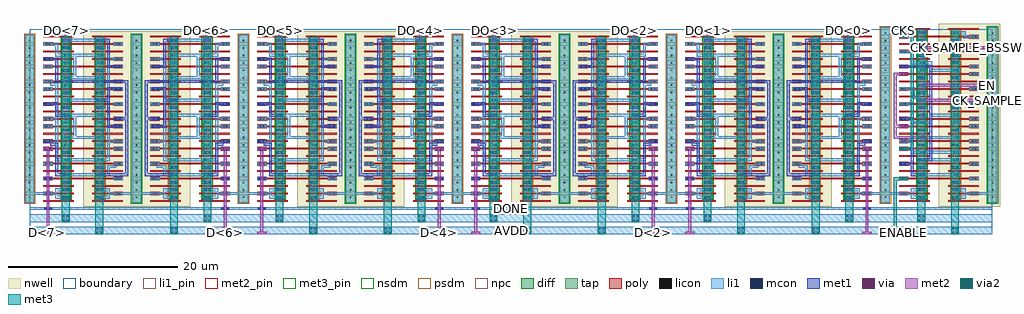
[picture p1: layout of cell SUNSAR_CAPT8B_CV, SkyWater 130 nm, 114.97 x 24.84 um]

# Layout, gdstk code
from math import pi, radians
import gdstk
lib = gdstk.Library(unit=1e-6, precision=1e-09)
def R(c, l, rs):  # rectangles x0, y0, x1, y1
    for r in rs: c.add(gdstk.rectangle(r[:2], r[2:], *l))
def A(c, l, x, y, w, h, nx, ny, dx, dy):  # array of equal rectangles
    R(c, l, [(x+i*dx, y+j*dy, x+i*dx+w, y+j*dy+h) for i in range(nx) for j in range(ny)])
nwell = (64, 20)
diff = (65, 20)
tap = (65, 44)
poly = (66, 20)
licon = (66, 44)
li1_pin = (67, 16)
li1 = (67, 20)
mcon = (67, 44)
met1 = (68, 20)
via = (68, 44)
met2_pin = (69, 16)
met2 = (69, 20)
via2 = (69, 44)
met3_pin = (70, 16)
met3 = (70, 20)
nsdm = (93, 44)
psdm = (94, 20)
npc = (95, 20)
boundary = (235, 4)

sunsar_cut_m1m2_2x1 = lib.new_cell('SUNSAR_cut_M1M2_2x1')
R(sunsar_cut_m1m2_2x1, li1, [(0,0,0.92,0.34)])
R(sunsar_cut_m1m2_2x1, mcon, [(0.115,0.085,0.285,0.255), (0.635,0.085,0.805,0.255)])
R(sunsar_cut_m1m2_2x1, met1, [(0,0,0.92,0.34)])
R(sunsar_cut_m1m2_2x1, boundary, [(0,0,0.92,0.34)])

sunsar_cut_m1m4_2x1 = lib.new_cell('SUNSAR_cut_M1M4_2x1')
R(sunsar_cut_m1m4_2x1, li1, [(0,0,0.92,0.34)])
R(sunsar_cut_m1m4_2x1, mcon, [(0.115,0.085,0.285,0.255), (0.635,0.085,0.805,0.255)])
R(sunsar_cut_m1m4_2x1, met1, [(0,0,0.92,0.34)])
R(sunsar_cut_m1m4_2x1, via, [(0.125,0.095,0.275,0.245), (0.645,0.095,0.795,0.245)])
R(sunsar_cut_m1m4_2x1, met2, [(0,0,0.92,0.34)])
R(sunsar_cut_m1m4_2x1, via2, [(0.1,0.07,0.3,0.27), (0.62,0.07,0.82,0.27)])
R(sunsar_cut_m1m4_2x1, met3, [(0,0,0.92,0.34)])
R(sunsar_cut_m1m4_2x1, boundary, [(0,0,0.92,0.34)])

sunsar_pchdl = lib.new_cell('SUNSAR_PCHDL')
R(sunsar_pchdl, nwell, [(0,-0.66,7.2,2.42)])
R(sunsar_pchdl, diff, [(1.44,0.22,2.52,1.54)])
R(sunsar_pchdl, tap, [(5.76,-0.22,6.84,1.98)])
A(sunsar_pchdl, poly, 1.08, -0.09, 3.6, 0.18, 1, 3, 0, 0.88)
R(sunsar_pchdl, poly, [(3.6,0.66,4.68,0.79), (3.6,0.97,4.68,1.1)])
R(sunsar_pchdl, licon, [(1.725,0.355,1.895,0.525), (2.065,0.355,2.235,0.525), (6.215,0.355,6.385,0.525), (3.885,0.795,4.055,0.965), (4.225,0.795,4.395,0.965), (1.725,1.235,1.895,1.405), (2.065,1.235,2.235,1.405), (6.215,1.235,6.385,1.405)])
R(sunsar_pchdl, li1_pin, [(1.44,0.27,2.52,0.61), (5.76,0.66,6.84,1.1), (3.6,0.71,4.68,1.05), (1.44,1.15,2.52,1.49)])
R(sunsar_pchdl, li1, [(5.76,-0.22,6.84,1.98), (1.44,0.27,2.52,0.61), (3.6,0.71,4.68,1.05), (1.44,1.15,2.52,1.49)])
R(sunsar_pchdl, nsdm, [(5.635,-0.345,6.965,2.105)])
R(sunsar_pchdl, psdm, [(1.315,0.095,2.645,1.665)])
R(sunsar_pchdl, npc, [(3.785,0.695,4.495,1.065)])
R(sunsar_pchdl, boundary, [(0,0,6.3,1.76)])
sunsar_pchdl.add(gdstk.Label('D', (1.98,1.32), layer=67, texttype=5))
sunsar_pchdl.add(gdstk.Label('G', (4.14,0.88), layer=67, texttype=5))
sunsar_pchdl.add(gdstk.Label('S', (1.98,0.44), layer=67, texttype=5))
sunsar_pchdl.add(gdstk.Label('B', (6.3,0.88), layer=67, texttype=5))

sunsar_nchdl = lib.new_cell('SUNSAR_NCHDL')
R(sunsar_nchdl, diff, [(3.78,0.22,4.86,1.54)])
R(sunsar_nchdl, tap, [(-0.54,-0.22,0.54,1.98)])
A(sunsar_nchdl, poly, 1.62, -0.09, 3.6, 0.18, 1, 3, 0, 0.88)
R(sunsar_nchdl, poly, [(1.62,0.66,2.7,0.79), (1.62,0.97,2.7,1.1)])
R(sunsar_nchdl, licon, [(-0.085,0.355,0.085,0.525), (4.065,0.355,4.235,0.525), (4.405,0.355,4.575,0.525), (1.905,0.795,2.075,0.965), (2.245,0.795,2.415,0.965), (-0.085,1.235,0.085,1.405), (4.065,1.235,4.235,1.405), (4.405,1.235,4.575,1.405)])
R(sunsar_nchdl, li1_pin, [(3.78,0.27,4.86,0.61), (-0.54,0.66,0.54,1.1), (1.62,0.71,2.7,1.05), (3.78,1.15,4.86,1.49)])
R(sunsar_nchdl, li1, [(-0.54,-0.22,0.54,1.98), (3.78,0.27,4.86,0.61), (1.62,0.71,2.7,1.05), (3.78,1.15,4.86,1.49)])
R(sunsar_nchdl, nsdm, [(3.655,0.095,4.985,1.665)])
R(sunsar_nchdl, psdm, [(-0.665,-0.345,0.665,2.105)])
R(sunsar_nchdl, npc, [(1.805,0.695,2.515,1.065)])
R(sunsar_nchdl, boundary, [(0,0,6.3,1.76)])
sunsar_nchdl.add(gdstk.Label('D', (4.32,1.32), layer=67, texttype=5))
sunsar_nchdl.add(gdstk.Label('G', (2.16,0.88), layer=67, texttype=5))
sunsar_nchdl.add(gdstk.Label('S', (4.32,0.44), layer=67, texttype=5))
sunsar_nchdl.add(gdstk.Label('B', (0,0.88), layer=67, texttype=5))

sunsar_ivx1_cv = lib.new_cell('SUNSAR_IVX1_CV')
R(sunsar_ivx1_cv, poly, [(1.62,0.79,10.98,0.97)])
R(sunsar_ivx1_cv, li1_pin, [(-0.54,0.66,0.54,1.1), (12.06,0.66,13.14,1.1), (1.62,0.71,2.7,1.05), (3.78,1.15,4.86,1.49)])
R(sunsar_ivx1_cv, li1, [(-0.54,0.66,0.54,1.1), (12.06,0.66,13.14,1.1), (1.62,0.71,2.7,1.05), (3.78,1.15,8.28,1.49)])
R(sunsar_ivx1_cv, met3_pin, [(3.78,0,4.7,1.76), (7.74,0,8.66,1.76)])
R(sunsar_ivx1_cv, met3, [(3.78,0,4.7,1.76), (7.74,0,8.66,1.76)])
R(sunsar_ivx1_cv, boundary, [(0,0,12.6,1.76)])
sunsar_ivx1_cv.add(gdstk.Reference(sunsar_cut_m1m4_2x1, (3.78,0.27)))
sunsar_ivx1_cv.add(gdstk.Reference(sunsar_cut_m1m4_2x1, (7.74,0.27)))
sunsar_ivx1_cv.add(gdstk.Reference(sunsar_pchdl, (6.3,0)))
sunsar_ivx1_cv.add(gdstk.Reference(sunsar_nchdl, (0,0)))
sunsar_ivx1_cv.add(gdstk.Label('A', (2.16,0.88), layer=67, texttype=5))
sunsar_ivx1_cv.add(gdstk.Label('Y', (4.32,1.32), layer=67, texttype=5))
sunsar_ivx1_cv.add(gdstk.Label('BULKP', (12.6,0.88), layer=67, texttype=5))
sunsar_ivx1_cv.add(gdstk.Label('BULKN', (0,0.88), layer=67, texttype=5))
sunsar_ivx1_cv.add(gdstk.Label('AVDD', (8.2,0.88), layer=70, texttype=5))
sunsar_ivx1_cv.add(gdstk.Label('AVSS', (4.24,0.88), layer=70, texttype=5))

sunsar_ivtrix1_cv = lib.new_cell('SUNSAR_IVTRIX1_CV')
R(sunsar_ivtrix1_cv, poly, [(1.62,0.79,10.98,0.97)])
R(sunsar_ivtrix1_cv, li1_pin, [(-0.54,0.66,0.54,1.1), (12.06,0.66,13.14,1.1), (1.62,0.71,2.7,1.05), (1.62,1.59,2.7,1.93), (9.9,1.59,10.98,1.93), (3.78,2.03,4.86,2.37)])
R(sunsar_ivtrix1_cv, li1, [(-0.54,0.66,0.54,1.1), (12.06,0.66,13.14,1.1), (1.62,0.71,2.7,1.05), (4.15,1.15,4.49,1.49), (8.11,1.15,8.45,1.49), (1.62,1.59,2.7,1.93), (9.9,1.59,10.98,1.93), (3.78,2.03,8.28,2.37)])
R(sunsar_ivtrix1_cv, met3_pin, [(3.78,0,4.7,2.64), (7.74,0,8.66,2.64)])
R(sunsar_ivtrix1_cv, met3, [(3.78,0,4.7,2.64), (7.74,0,8.66,2.64)])
R(sunsar_ivtrix1_cv, boundary, [(0,0,12.6,2.64)])
sunsar_ivtrix1_cv.add(gdstk.Reference(sunsar_cut_m1m4_2x1, (3.78,0.27)))
sunsar_ivtrix1_cv.add(gdstk.Reference(sunsar_cut_m1m4_2x1, (7.74,0.27)))
sunsar_ivtrix1_cv.add(gdstk.Reference(sunsar_pchdl, (6.3,0.88)))
sunsar_ivtrix1_cv.add(gdstk.Reference(sunsar_pchdl, (6.3,0)))
sunsar_ivtrix1_cv.add(gdstk.Reference(sunsar_nchdl, (0,0.88)))
sunsar_ivtrix1_cv.add(gdstk.Reference(sunsar_nchdl, (0,0)))
sunsar_ivtrix1_cv.add(gdstk.Label('A', (2.16,0.88), layer=67, texttype=5))
sunsar_ivtrix1_cv.add(gdstk.Label('C', (2.16,1.76), layer=67, texttype=5))
sunsar_ivtrix1_cv.add(gdstk.Label('CN', (10.44,1.76), layer=67, texttype=5))
sunsar_ivtrix1_cv.add(gdstk.Label('Y', (4.32,2.2), layer=67, texttype=5))
sunsar_ivtrix1_cv.add(gdstk.Label('BULKP', (12.6,0.88), layer=67, texttype=5))
sunsar_ivtrix1_cv.add(gdstk.Label('BULKN', (0,0.88), layer=67, texttype=5))
sunsar_ivtrix1_cv.add(gdstk.Label('AVDD', (8.2,1.32), layer=70, texttype=5))
sunsar_ivtrix1_cv.add(gdstk.Label('AVSS', (4.24,1.32), layer=70, texttype=5))

sunsar_tapcellb_cv = lib.new_cell('SUNSAR_TAPCELLB_CV')
R(sunsar_tapcellb_cv, li1, [(3,0.27,4.32,0.61), (8.28,0.27,9.46,0.61), (3,0.61,3.34,0.71), (9.12,0.61,9.46,0.71), (-0.54,0.71,3.34,1.05), (9.12,0.71,13.14,1.05), (3,1.05,3.34,1.15), (9.12,1.05,9.46,1.15), (3,1.15,4.32,1.49), (8.28,1.15,9.46,1.49)])
R(sunsar_tapcellb_cv, met3_pin, [(3.78,0,4.7,1.76), (7.74,0,8.66,1.76)])
R(sunsar_tapcellb_cv, met3, [(3.78,0,4.7,1.76), (7.74,0,8.66,1.76)])
R(sunsar_tapcellb_cv, boundary, [(0,0,12.6,1.76)])
sunsar_tapcellb_cv.add(gdstk.Reference(sunsar_cut_m1m4_2x1, (3.78,0.27)))
sunsar_tapcellb_cv.add(gdstk.Reference(sunsar_cut_m1m4_2x1, (3.78,1.15)))
sunsar_tapcellb_cv.add(gdstk.Reference(sunsar_cut_m1m4_2x1, (7.74,0.27)))
sunsar_tapcellb_cv.add(gdstk.Reference(sunsar_cut_m1m4_2x1, (7.74,1.15)))
sunsar_tapcellb_cv.add(gdstk.Reference(sunsar_pchdl, (6.3,0)))
sunsar_tapcellb_cv.add(gdstk.Reference(sunsar_nchdl, (0,0)))
sunsar_tapcellb_cv.add(gdstk.Label('AVDD', (8.2,0.88), layer=70, texttype=5))
sunsar_tapcellb_cv.add(gdstk.Label('AVSS', (4.24,0.88), layer=70, texttype=5))

sunsar_dfqnx1_cv = lib.new_cell('SUNSAR_DFQNX1_CV')
R(sunsar_dfqnx1_cv, li1_pin, [(1.62,2.47,2.7,2.81), (1.62,5.99,2.7,6.33), (3.78,16.99,4.86,17.33), (3.78,18.75,4.86,19.09)])
R(sunsar_dfqnx1_cv, li1, [(1.62,2.47,2.7,2.81), (8.28,2.91,9.46,3.25), (9.12,3.25,9.46,3.89), (9.12,3.89,10.2,4.23), (9.9,4.23,10.44,4.57), (3,4.67,4.32,5.01), (8.28,4.67,9.46,5.01), (3,5.01,3.34,9.51), (9.12,5.01,9.46,6.87), (1.62,5.99,2.7,6.33), (9.12,6.87,10.44,7.21), (9.12,7.21,9.46,16.55), (4.32,7.31,5.5,7.65), (5.16,7.65,5.5,9.95), (2.16,9.51,3.34,9.85), (3,9.85,3.34,13.57), (4.32,9.95,5.5,10.29), (2.4,13.57,3.34,13.91), (2.16,13.91,2.7,14.25), (4.32,14.35,5.5,14.69), (5.16,14.69,5.5,16.99), (9.12,16.55,10.44,16.89), (3,16.99,5.5,17.33), (3,17.33,3.34,18.31), (2.16,18.31,3.34,18.65), (3.78,18.75,4.86,19.09)])
R(sunsar_dfqnx1_cv, met1, [(3,2.91,4.32,3.25), (8.28,2.91,11.62,3.25), (3,3.25,3.34,6.53), (11.28,3.25,11.62,9.51), (2.4,6.53,3.34,6.87), (2.16,6.87,2.7,7.21), (9.12,8.63,10.44,8.97), (9.12,8.97,9.46,11.71), (10.44,9.51,11.62,9.85), (11.28,9.85,11.62,13.91), (3,9.95,4.32,10.29), (3,10.29,3.34,11.27), (2.16,11.27,3.34,11.61), (8.28,11.71,9.46,12.05), (9.12,12.05,9.46,13.03), (9.12,13.03,10.44,13.37), (3,13.91,11.62,14.25), (3,14.25,3.34,16.55), (9.12,15.67,10.44,16.01), (9.12,16.01,9.46,18.75), (2.16,16.55,3.34,16.89), (8.28,18.75,9.46,19.09)])
R(sunsar_dfqnx1_cv, met3_pin, [(3.78,0,4.7,19.36), (7.74,0,8.66,19.36)])
R(sunsar_dfqnx1_cv, met3, [(3.78,0,4.7,19.36), (7.74,0,8.66,19.36)])
A(sunsar_dfqnx1_cv, nsdm, 3.655, 1.665, 1.33, 0.19, 1, 3, 0, 1.76)
A(sunsar_dfqnx1_cv, nsdm, 3.655, 12.225, 1.33, 0.19, 1, 3, 0, 2.64)
R(sunsar_dfqnx1_cv, nsdm, [(3.655,7.825,4.985,8.015), (3.655,10.465,4.985,10.655)])
A(sunsar_dfqnx1_cv, psdm, 7.615, 1.665, 1.33, 0.19, 1, 3, 0, 1.76)
A(sunsar_dfqnx1_cv, psdm, 7.615, 12.225, 1.33, 0.19, 1, 3, 0, 2.64)
R(sunsar_dfqnx1_cv, psdm, [(7.615,7.825,8.945,8.015), (7.615,10.465,8.945,10.655)])
R(sunsar_dfqnx1_cv, boundary, [(0,0,12.6,19.36)])
sunsar_dfqnx1_cv.add(gdstk.Reference(sunsar_cut_m1m2_2x1, (9.9,15.67)))
sunsar_dfqnx1_cv.add(gdstk.Reference(sunsar_cut_m1m2_2x1, (7.74,18.75)))
sunsar_dfqnx1_cv.add(gdstk.Reference(sunsar_cut_m1m2_2x1, (9.9,13.03)))
sunsar_dfqnx1_cv.add(gdstk.Reference(sunsar_cut_m1m2_2x1, (9.9,8.63)))
sunsar_dfqnx1_cv.add(gdstk.Reference(sunsar_cut_m1m2_2x1, (7.74,11.71)))
sunsar_dfqnx1_cv.add(gdstk.Reference(sunsar_cut_m1m2_2x1, (3.78,9.95)))
sunsar_dfqnx1_cv.add(gdstk.Reference(sunsar_cut_m1m2_2x1, (1.62,11.27)))
sunsar_dfqnx1_cv.add(gdstk.Reference(sunsar_cut_m1m2_2x1, (9.9,13.91)))
sunsar_dfqnx1_cv.add(gdstk.Reference(sunsar_cut_m1m2_2x1, (1.62,16.55)))
sunsar_dfqnx1_cv.add(gdstk.Reference(sunsar_cut_m1m2_2x1, (3.78,2.91)))
sunsar_dfqnx1_cv.add(gdstk.Reference(sunsar_cut_m1m2_2x1, (1.62,6.87)))
sunsar_dfqnx1_cv.add(gdstk.Reference(sunsar_cut_m1m2_2x1, (7.74,2.91)))
sunsar_dfqnx1_cv.add(gdstk.Reference(sunsar_cut_m1m2_2x1, (9.9,13.91)))
sunsar_dfqnx1_cv.add(gdstk.Reference(sunsar_cut_m1m2_2x1, (9.9,9.51)))
sunsar_dfqnx1_cv.add(gdstk.Reference(sunsar_ivx1_cv, (0,17.6)))
sunsar_dfqnx1_cv.add(gdstk.Reference(sunsar_ivtrix1_cv, (0,14.96)))
sunsar_dfqnx1_cv.add(gdstk.Reference(sunsar_ivtrix1_cv, (0,12.32)))
sunsar_dfqnx1_cv.add(gdstk.Reference(sunsar_ivx1_cv, (0,10.56)))
sunsar_dfqnx1_cv.add(gdstk.Reference(sunsar_ivtrix1_cv, (0,7.92)))
sunsar_dfqnx1_cv.add(gdstk.Reference(sunsar_ivtrix1_cv, (0,5.28)))
sunsar_dfqnx1_cv.add(gdstk.Reference(sunsar_ivx1_cv, (0,3.52)))
sunsar_dfqnx1_cv.add(gdstk.Reference(sunsar_ivx1_cv, (0,1.76)))
sunsar_dfqnx1_cv.add(gdstk.Reference(sunsar_tapcellb_cv, (0,0)))
sunsar_dfqnx1_cv.add(gdstk.Label('D', (2.16,6.16), layer=67, texttype=5))
sunsar_dfqnx1_cv.add(gdstk.Label('CK', (2.16,2.64), layer=67, texttype=5))
sunsar_dfqnx1_cv.add(gdstk.Label('Q', (4.32,18.92), layer=67, texttype=5))
sunsar_dfqnx1_cv.add(gdstk.Label('QN', (4.32,17.16), layer=67, texttype=5))
sunsar_dfqnx1_cv.add(gdstk.Label('AVDD', (8.2,9.68), layer=70, texttype=5))
sunsar_dfqnx1_cv.add(gdstk.Label('AVSS', (4.24,9.68), layer=70, texttype=5))

sunsar_cut_m1m3_2x1 = lib.new_cell('SUNSAR_cut_M1M3_2x1')
R(sunsar_cut_m1m3_2x1, li1, [(0,0,0.92,0.34)])
R(sunsar_cut_m1m3_2x1, mcon, [(0.115,0.085,0.285,0.255), (0.635,0.085,0.805,0.255)])
R(sunsar_cut_m1m3_2x1, met1, [(0,0,0.92,0.34)])
R(sunsar_cut_m1m3_2x1, via, [(0.125,0.095,0.275,0.245), (0.645,0.095,0.795,0.245)])
R(sunsar_cut_m1m3_2x1, met2, [(0,0,0.92,0.34)])
R(sunsar_cut_m1m3_2x1, boundary, [(0,0,0.92,0.34)])

sunsar_cut_m1m4_2x2 = lib.new_cell('SUNSAR_cut_M1M4_2x2')
R(sunsar_cut_m1m4_2x2, li1, [(0,0,0.92,0.92)])
R(sunsar_cut_m1m4_2x2, mcon, [(0.115,0.115,0.285,0.285), (0.635,0.115,0.805,0.285), (0.115,0.635,0.285,0.805), (0.635,0.635,0.805,0.805)])
R(sunsar_cut_m1m4_2x2, met1, [(0,0,0.92,0.92)])
R(sunsar_cut_m1m4_2x2, via, [(0.125,0.125,0.275,0.275), (0.645,0.125,0.795,0.275), (0.125,0.645,0.275,0.795), (0.645,0.645,0.795,0.795)])
R(sunsar_cut_m1m4_2x2, met2, [(0,0,0.92,0.92)])
R(sunsar_cut_m1m4_2x2, via2, [(0.1,0.1,0.3,0.3), (0.62,0.1,0.82,0.3), (0.1,0.62,0.3,0.82), (0.62,0.62,0.82,0.82)])
R(sunsar_cut_m1m4_2x2, met3, [(0,0,0.92,0.92)])
R(sunsar_cut_m1m4_2x2, boundary, [(0,0,0.92,0.92)])

sunsar_tiel_cv = lib.new_cell('SUNSAR_TIEL_CV')
R(sunsar_tiel_cv, poly, [(1.62,0.79,10.98,0.97)])
R(sunsar_tiel_cv, li1_pin, [(-0.54,0.66,0.54,1.1), (12.06,0.66,13.14,1.1), (3.78,1.15,4.86,1.49)])
R(sunsar_tiel_cv, li1, [(-0.54,0.66,0.54,1.1), (12.06,0.66,13.14,1.1), (9.12,0.71,10.44,1.05), (9.12,1.05,9.46,1.15), (3.78,1.15,4.86,1.49), (8.28,1.15,9.46,1.49)])
R(sunsar_tiel_cv, met3_pin, [(3.78,0,4.7,1.76), (7.74,0,8.66,1.76)])
R(sunsar_tiel_cv, met3, [(3.78,0,4.7,1.76), (7.74,0,8.66,1.76)])
R(sunsar_tiel_cv, boundary, [(0,0,12.6,1.76)])
sunsar_tiel_cv.add(gdstk.Reference(sunsar_cut_m1m4_2x1, (3.78,0.27)))
sunsar_tiel_cv.add(gdstk.Reference(sunsar_cut_m1m4_2x1, (7.74,0.27)))
sunsar_tiel_cv.add(gdstk.Reference(sunsar_pchdl, (6.3,0)))
sunsar_tiel_cv.add(gdstk.Reference(sunsar_nchdl, (0,0)))
sunsar_tiel_cv.add(gdstk.Label('Y', (4.32,1.32), layer=67, texttype=5))
sunsar_tiel_cv.add(gdstk.Label('BULKP', (12.6,0.88), layer=67, texttype=5))
sunsar_tiel_cv.add(gdstk.Label('BULKN', (0,0.88), layer=67, texttype=5))
sunsar_tiel_cv.add(gdstk.Label('AVDD', (8.2,0.88), layer=70, texttype=5))
sunsar_tiel_cv.add(gdstk.Label('AVSS', (4.24,0.88), layer=70, texttype=5))

sunsar_ndx1_cv = lib.new_cell('SUNSAR_NDX1_CV')
R(sunsar_ndx1_cv, poly, [(1.62,0.79,10.98,0.97), (1.62,1.67,10.98,1.85)])
R(sunsar_ndx1_cv, li1_pin, [(-0.54,0.66,0.54,1.1), (12.06,0.66,13.14,1.1), (1.62,0.71,2.7,1.05), (1.62,1.59,2.7,1.93), (3.78,2.03,4.86,2.37)])
R(sunsar_ndx1_cv, li1, [(-0.54,0.66,0.54,1.1), (12.06,0.66,13.14,1.1), (1.62,0.71,2.7,1.05), (4.15,1.15,4.49,1.49), (5.16,1.15,8.28,1.49), (5.16,1.49,5.5,2.03), (1.62,1.59,2.7,1.93), (3.78,2.03,5.5,2.37)])
R(sunsar_ndx1_cv, met3_pin, [(3.78,0,4.7,2.64), (7.74,0,8.66,2.64)])
R(sunsar_ndx1_cv, met3, [(3.78,0,4.7,2.64), (7.74,0,8.66,2.64)])
R(sunsar_ndx1_cv, boundary, [(0,0,12.6,2.64)])
sunsar_ndx1_cv.add(gdstk.Reference(sunsar_cut_m1m4_2x1, (3.78,0.27)))
sunsar_ndx1_cv.add(gdstk.Reference(sunsar_cut_m1m4_2x1, (7.74,2.03)))
sunsar_ndx1_cv.add(gdstk.Reference(sunsar_cut_m1m4_2x1, (7.74,0.27)))
sunsar_ndx1_cv.add(gdstk.Reference(sunsar_pchdl, (6.3,0.88)))
sunsar_ndx1_cv.add(gdstk.Reference(sunsar_pchdl, (6.3,0)))
sunsar_ndx1_cv.add(gdstk.Reference(sunsar_nchdl, (0,0.88)))
sunsar_ndx1_cv.add(gdstk.Reference(sunsar_nchdl, (0,0)))
sunsar_ndx1_cv.add(gdstk.Label('A', (2.16,0.88), layer=67, texttype=5))
sunsar_ndx1_cv.add(gdstk.Label('B', (2.16,1.76), layer=67, texttype=5))
sunsar_ndx1_cv.add(gdstk.Label('Y', (4.32,2.2), layer=67, texttype=5))
sunsar_ndx1_cv.add(gdstk.Label('BULKP', (12.6,0.88), layer=67, texttype=5))
sunsar_ndx1_cv.add(gdstk.Label('BULKN', (0,0.88), layer=67, texttype=5))
sunsar_ndx1_cv.add(gdstk.Label('AVDD', (8.2,1.32), layer=70, texttype=5))
sunsar_ndx1_cv.add(gdstk.Label('AVSS', (4.24,1.32), layer=70, texttype=5))

sunsar_anx1_cv = lib.new_cell('SUNSAR_ANX1_CV')
R(sunsar_anx1_cv, li1_pin, [(-0.54,0.66,0.54,1.1), (12.06,0.66,13.14,1.1), (1.62,0.71,2.7,1.05), (1.62,1.59,2.7,1.93), (3.78,3.79,4.86,4.13)])
R(sunsar_anx1_cv, li1, [(-0.54,0.66,0.54,1.1), (12.06,0.66,13.14,1.1), (1.62,0.71,2.7,1.05), (1.62,1.59,2.7,1.93), (3,2.03,4.32,2.37), (3,2.37,3.34,3.35), (2.16,3.35,3.34,3.69), (3.78,3.79,4.86,4.13)])
R(sunsar_anx1_cv, met3_pin, [(3.78,0,4.7,4.4), (7.74,0,8.66,4.4)])
R(sunsar_anx1_cv, met3, [(3.78,0,4.7,4.4), (7.74,0,8.66,4.4)])
R(sunsar_anx1_cv, nsdm, [(3.655,2.545,4.985,2.735)])
R(sunsar_anx1_cv, psdm, [(7.615,2.545,8.945,2.735)])
R(sunsar_anx1_cv, boundary, [(0,0,12.6,4.4)])
sunsar_anx1_cv.add(gdstk.Reference(sunsar_ivx1_cv, (0,2.64)))
sunsar_anx1_cv.add(gdstk.Reference(sunsar_ndx1_cv, (0,0)))
sunsar_anx1_cv.add(gdstk.Label('A', (2.16,0.88), layer=67, texttype=5))
sunsar_anx1_cv.add(gdstk.Label('B', (2.16,1.76), layer=67, texttype=5))
sunsar_anx1_cv.add(gdstk.Label('Y', (4.32,3.96), layer=67, texttype=5))
sunsar_anx1_cv.add(gdstk.Label('BULKP', (12.6,0.88), layer=67, texttype=5))
sunsar_anx1_cv.add(gdstk.Label('BULKN', (0,0.88), layer=67, texttype=5))
sunsar_anx1_cv.add(gdstk.Label('AVDD', (8.2,2.2), layer=70, texttype=5))
sunsar_anx1_cv.add(gdstk.Label('AVSS', (4.24,2.2), layer=70, texttype=5))

sunsar_nrx1_cv = lib.new_cell('SUNSAR_NRX1_CV')
R(sunsar_nrx1_cv, poly, [(1.62,0.79,10.98,0.97), (1.62,1.67,10.98,1.85)])
R(sunsar_nrx1_cv, li1_pin, [(-0.54,0.66,0.54,1.1), (12.06,0.66,13.14,1.1), (1.62,0.71,2.7,1.05), (3.78,1.15,4.86,1.49), (1.62,1.59,2.7,1.93)])
R(sunsar_nrx1_cv, li1, [(-0.54,0.66,0.54,1.1), (12.06,0.66,13.14,1.1), (1.62,0.71,2.7,1.05), (3.78,1.15,5.5,1.49), (8.11,1.15,8.45,1.49), (5.16,1.49,5.5,2.03), (1.62,1.59,2.7,1.93), (5.16,2.03,8.28,2.37)])
R(sunsar_nrx1_cv, met3_pin, [(3.78,0,4.7,2.64), (7.74,0,8.66,2.64)])
R(sunsar_nrx1_cv, met3, [(3.78,0,4.7,2.64), (7.74,0,8.66,2.64)])
R(sunsar_nrx1_cv, boundary, [(0,0,12.6,2.64)])
sunsar_nrx1_cv.add(gdstk.Reference(sunsar_cut_m1m4_2x1, (3.78,2.03)))
sunsar_nrx1_cv.add(gdstk.Reference(sunsar_cut_m1m4_2x1, (3.78,0.27)))
sunsar_nrx1_cv.add(gdstk.Reference(sunsar_cut_m1m4_2x1, (7.74,0.27)))
sunsar_nrx1_cv.add(gdstk.Reference(sunsar_pchdl, (6.3,0.88)))
sunsar_nrx1_cv.add(gdstk.Reference(sunsar_pchdl, (6.3,0)))
sunsar_nrx1_cv.add(gdstk.Reference(sunsar_nchdl, (0,0.88)))
sunsar_nrx1_cv.add(gdstk.Reference(sunsar_nchdl, (0,0)))
sunsar_nrx1_cv.add(gdstk.Label('A', (2.16,0.88), layer=67, texttype=5))
sunsar_nrx1_cv.add(gdstk.Label('B', (2.16,1.76), layer=67, texttype=5))
sunsar_nrx1_cv.add(gdstk.Label('Y', (4.32,1.32), layer=67, texttype=5))
sunsar_nrx1_cv.add(gdstk.Label('BULKP', (12.6,0.88), layer=67, texttype=5))
sunsar_nrx1_cv.add(gdstk.Label('BULKN', (0,0.88), layer=67, texttype=5))
sunsar_nrx1_cv.add(gdstk.Label('AVDD', (8.2,1.32), layer=70, texttype=5))
sunsar_nrx1_cv.add(gdstk.Label('AVSS', (4.24,1.32), layer=70, texttype=5))

sunsar_orx1_cv = lib.new_cell('SUNSAR_ORX1_CV')
R(sunsar_orx1_cv, li1_pin, [(-0.54,0.66,0.54,1.1), (12.06,0.66,13.14,1.1), (1.62,0.71,2.7,1.05), (1.62,1.59,2.7,1.93), (3.78,3.79,4.86,4.13)])
R(sunsar_orx1_cv, li1, [(-0.54,0.66,0.54,1.1), (12.06,0.66,13.14,1.1), (1.62,0.71,2.7,1.05), (3,1.15,4.32,1.49), (3,1.49,3.34,3.35), (1.62,1.59,2.7,1.93), (2.16,3.35,3.34,3.69), (3.78,3.79,4.86,4.13)])
R(sunsar_orx1_cv, met3_pin, [(3.78,0,4.7,4.4), (7.74,0,8.66,4.4)])
R(sunsar_orx1_cv, met3, [(3.78,0,4.7,4.4), (7.74,0,8.66,4.4)])
R(sunsar_orx1_cv, nsdm, [(3.655,2.545,4.985,2.735)])
R(sunsar_orx1_cv, psdm, [(7.615,2.545,8.945,2.735)])
R(sunsar_orx1_cv, boundary, [(0,0,12.6,4.4)])
sunsar_orx1_cv.add(gdstk.Reference(sunsar_ivx1_cv, (0,2.64)))
sunsar_orx1_cv.add(gdstk.Reference(sunsar_nrx1_cv, (0,0)))
sunsar_orx1_cv.add(gdstk.Label('A', (2.16,0.88), layer=67, texttype=5))
sunsar_orx1_cv.add(gdstk.Label('B', (2.16,1.76), layer=67, texttype=5))
sunsar_orx1_cv.add(gdstk.Label('Y', (4.32,3.96), layer=67, texttype=5))
sunsar_orx1_cv.add(gdstk.Label('BULKP', (12.6,0.88), layer=67, texttype=5))
sunsar_orx1_cv.add(gdstk.Label('BULKN', (0,0.88), layer=67, texttype=5))
sunsar_orx1_cv.add(gdstk.Label('AVDD', (8.2,2.2), layer=70, texttype=5))
sunsar_orx1_cv.add(gdstk.Label('AVSS', (4.24,2.2), layer=70, texttype=5))

sunsar_bfx1_cv = lib.new_cell('SUNSAR_BFX1_CV')
R(sunsar_bfx1_cv, poly, [(1.62,0.79,10.98,0.97), (1.62,1.67,10.98,1.85)])
R(sunsar_bfx1_cv, li1_pin, [(-0.54,0.66,0.54,1.1), (12.06,0.66,13.14,1.1), (1.62,0.71,2.7,1.05), (3.78,2.03,4.86,2.37)])
R(sunsar_bfx1_cv, li1, [(3,0.27,8.28,0.61), (3,0.61,3.34,1.59), (-0.54,0.66,0.54,1.1), (12.06,0.66,13.14,1.1), (1.62,0.71,2.7,1.05), (2.16,1.59,3.34,1.93), (3.78,2.03,8.28,2.37)])
R(sunsar_bfx1_cv, met3_pin, [(3.78,0,4.7,2.64), (7.74,0,8.66,2.64)])
R(sunsar_bfx1_cv, met3, [(3.78,0,4.7,2.64), (7.74,0,8.66,2.64)])
R(sunsar_bfx1_cv, boundary, [(0,0,12.6,2.64)])
sunsar_bfx1_cv.add(gdstk.Reference(sunsar_cut_m1m4_2x1, (3.78,1.15)))
sunsar_bfx1_cv.add(gdstk.Reference(sunsar_cut_m1m4_2x1, (3.78,1.15)))
sunsar_bfx1_cv.add(gdstk.Reference(sunsar_cut_m1m4_2x1, (7.74,1.15)))
sunsar_bfx1_cv.add(gdstk.Reference(sunsar_cut_m1m4_2x1, (7.74,1.15)))
sunsar_bfx1_cv.add(gdstk.Reference(sunsar_pchdl, (6.3,0.88)))
sunsar_bfx1_cv.add(gdstk.Reference(sunsar_pchdl, (6.3,0)))
sunsar_bfx1_cv.add(gdstk.Reference(sunsar_nchdl, (0,0.88)))
sunsar_bfx1_cv.add(gdstk.Reference(sunsar_nchdl, (0,0)))
sunsar_bfx1_cv.add(gdstk.Label('A', (2.16,0.88), layer=67, texttype=5))
sunsar_bfx1_cv.add(gdstk.Label('Y', (4.32,2.2), layer=67, texttype=5))
sunsar_bfx1_cv.add(gdstk.Label('BULKP', (12.6,0.88), layer=67, texttype=5))
sunsar_bfx1_cv.add(gdstk.Label('BULKN', (0,0.88), layer=67, texttype=5))
sunsar_bfx1_cv.add(gdstk.Label('AVDD', (8.2,1.32), layer=70, texttype=5))
sunsar_bfx1_cv.add(gdstk.Label('AVSS', (4.24,1.32), layer=70, texttype=5))

sunsar_capt8b_cv = lib.new_cell('SUNSAR_CAPT8B_CV')
R(sunsar_capt8b_cv, li1_pin, [(0,-3.94,113.4,-3.02), (0,-2.5,113.4,-1.58), (0,-1.06,113.4,-0.72)])
R(sunsar_capt8b_cv, li1, [(0,-3.94,113.4,-3.02), (0,-2.5,113.4,-1.58), (0,-1.06,113.4,-0.72), (104.58,11.71,105.12,12.05), (103.94,12.05,104.88,12.39), (103.94,12.39,104.28,13.03), (102.96,13.03,104.28,13.37)])
R(sunsar_capt8b_cv, met1, [(1.99,-1.06,2.33,2.81), (22.87,-1.06,23.21,2.81), (27.19,-1.06,27.53,2.81), (48.07,-1.06,48.41,2.81), (52.39,-1.06,52.73,2.81), (73.27,-1.06,73.61,2.81), (77.59,-1.06,77.93,2.81), (98.47,-1.06,98.81,2.81), (103.8,2.91,105.12,3.25), (103.8,3.25,104.14,4.23), (102.96,4.23,104.14,4.57), (103.8,4.57,104.14,9.51), (105.12,4.67,106.3,5.01), (105.96,5.01,106.3,15.67), (102.96,9.51,104.14,9.85), (102.96,15.67,106.3,16.01)])
R(sunsar_capt8b_cv, met2_pin, [(1.62,-3.94,2.7,-3.6), (22.5,-3.94,23.58,-3.6), (26.82,-3.94,27.9,-3.6), (47.7,-3.94,48.78,-3.6), (52.02,-3.94,53.1,-3.6), (72.9,-3.94,73.98,-3.6), (77.22,-3.94,78.3,-3.6), (98.1,-3.94,99.18,-3.6), (112.32,11.71,113.4,12.05), (112.32,13.47,113.4,13.81), (112.32,17.87,113.4,18.21), (3.78,19.9,4.86,20.24), (20.34,19.9,21.42,20.24), (28.98,19.9,30.06,20.24), (45.54,19.9,46.62,20.24), (54.18,19.9,55.26,20.24), (70.74,19.9,71.82,20.24), (79.38,19.9,80.46,20.24), (95.94,19.9,97.02,20.24), (104.58,19.9,105.66,20.24)])
R(sunsar_capt8b_cv, met2, [(1.62,-3.94,2.7,-3.6), (22.5,-3.94,23.58,-3.6), (26.82,-3.94,27.9,-3.6), (47.7,-3.94,48.78,-3.6), (52.02,-3.94,53.1,-3.6), (72.9,-3.94,73.98,-3.6), (77.22,-3.94,78.3,-3.6), (98.1,-3.94,99.18,-3.6), (1.99,-3.6,2.33,6.33), (22.87,-3.6,23.21,6.33), (27.19,-3.6,27.53,6.33), (48.07,-3.6,48.41,6.33), (52.39,-3.6,52.73,6.33), (73.27,-3.6,73.61,6.33), (77.59,-3.6,77.93,6.33), (98.47,-3.6,98.81,6.33), (101.78,7.31,105.12,7.65), (101.78,7.65,102.12,8.63), (101.78,8.63,102.96,8.97), (101.78,8.97,102.12,14.79), (105.12,11.71,113.4,12.05), (105.12,13.47,113.4,13.81), (101.78,14.79,102.96,15.13), (105.12,17.87,113.4,18.21), (4.15,18.75,4.49,19.9), (20.71,18.75,21.05,19.9), (29.35,18.75,29.69,19.9), (45.91,18.75,46.25,19.9), (54.55,18.75,54.89,19.9), (71.11,18.75,71.45,19.9), (79.75,18.75,80.09,19.9), (96.31,18.75,96.65,19.9), (104.95,19.63,105.29,19.9), (3.78,19.9,4.86,20.24), (20.34,19.9,21.42,20.24), (28.98,19.9,30.06,20.24), (45.54,19.9,46.62,20.24), (54.18,19.9,55.26,20.24), (70.74,19.9,71.82,20.24), (79.38,19.9,80.46,20.24), (95.94,19.9,97.02,20.24), (104.58,19.9,105.66,20.24)])
R(sunsar_capt8b_cv, met3_pin, [(102.42,-3.94,103.5,-3.6), (102.42,19.9,103.5,20.24)])
R(sunsar_capt8b_cv, met3, [(7.74,-3.94,8.66,19.36), (16.54,-3.94,17.46,19.36), (32.94,-3.94,33.86,19.36), (41.74,-3.94,42.66,19.36), (58.14,-3.94,59.06,19.36), (66.94,-3.94,67.86,19.36), (83.34,-3.94,84.26,19.36), (92.14,-3.94,93.06,19.36), (101.78,-3.94,103.5,-3.6), (108.54,-3.94,109.46,1.76), (101.78,-3.6,102.12,2.47), (3.78,-2.5,4.7,19.36), (20.5,-2.5,21.42,19.36), (28.98,-2.5,29.9,19.36), (45.7,-2.5,46.62,19.36), (54.18,-2.5,55.1,19.36), (70.9,-2.5,71.82,19.36), (79.38,-2.5,80.3,19.36), (96.1,-2.5,97.02,19.36), (104.58,-2.5,105.5,1.76), (101.78,2.47,102.96,2.81), (102.96,5.99,104.14,6.33), (103.8,6.33,104.14,19.9), (102.42,19.9,104.14,20.24)])
A(sunsar_capt8b_cv, nsdm, 104.455, 1.665, 1.33, 0.19, 1, 3, 0, 1.76)
R(sunsar_capt8b_cv, nsdm, [(104.455,7.825,105.785,8.015), (104.455,12.225,105.785,12.415), (104.455,13.985,105.785,14.175), (104.455,18.385,105.785,18.575)])
A(sunsar_capt8b_cv, psdm, 108.415, 1.665, 1.33, 0.19, 1, 3, 0, 1.76)
R(sunsar_capt8b_cv, psdm, [(108.415,7.825,109.745,8.015), (108.415,12.225,109.745,12.415), (108.415,13.985,109.745,14.175), (108.415,18.385,109.745,18.575)])
R(sunsar_capt8b_cv, boundary, [(0,-3.94,113.4,20.24)])
sunsar_capt8b_cv.add(gdstk.Reference(sunsar_dfqnx1_cv, (100.8,0), rotation=pi, x_reflection=True))
sunsar_capt8b_cv.add(gdstk.Reference(sunsar_dfqnx1_cv, (75.6,0)))
sunsar_capt8b_cv.add(gdstk.Reference(sunsar_dfqnx1_cv, (75.6,0), rotation=pi, x_reflection=True))
sunsar_capt8b_cv.add(gdstk.Reference(sunsar_dfqnx1_cv, (50.4,0)))
sunsar_capt8b_cv.add(gdstk.Reference(sunsar_dfqnx1_cv, (50.4,0), rotation=pi, x_reflection=True))
sunsar_capt8b_cv.add(gdstk.Reference(sunsar_dfqnx1_cv, (25.2,0)))
sunsar_capt8b_cv.add(gdstk.Reference(sunsar_cut_m1m4_2x1, (102.58,2.47)))
sunsar_capt8b_cv.add(gdstk.Reference(sunsar_cut_m1m3_2x1, (104.66,19.63)))
sunsar_capt8b_cv.add(gdstk.Reference(sunsar_cut_m1m4_2x1, (102.42,5.99)))
sunsar_capt8b_cv.add(gdstk.Reference(sunsar_cut_m1m3_2x1, (104.58,17.87)))
sunsar_capt8b_cv.add(gdstk.Reference(sunsar_cut_m1m3_2x1, (104.58,13.47)))
sunsar_capt8b_cv.add(gdstk.Reference(sunsar_cut_m1m3_2x1, (104.58,11.71)))
sunsar_capt8b_cv.add(gdstk.Reference(sunsar_cut_m1m3_2x1, (3.86,18.75)))
sunsar_capt8b_cv.add(gdstk.Reference(sunsar_cut_m1m3_2x1, (20.42,18.75)))
sunsar_capt8b_cv.add(gdstk.Reference(sunsar_cut_m1m3_2x1, (29.06,18.75)))
sunsar_capt8b_cv.add(gdstk.Reference(sunsar_cut_m1m3_2x1, (45.62,18.75)))
sunsar_capt8b_cv.add(gdstk.Reference(sunsar_cut_m1m3_2x1, (54.26,18.75)))
sunsar_capt8b_cv.add(gdstk.Reference(sunsar_cut_m1m3_2x1, (70.82,18.75)))
sunsar_capt8b_cv.add(gdstk.Reference(sunsar_cut_m1m3_2x1, (79.46,18.75)))
sunsar_capt8b_cv.add(gdstk.Reference(sunsar_cut_m1m3_2x1, (96.02,18.75)))
sunsar_capt8b_cv.add(gdstk.Reference(sunsar_cut_m1m3_2x1, (98.18,5.99)))
sunsar_capt8b_cv.add(gdstk.Reference(sunsar_cut_m1m3_2x1, (77.3,5.99)))
sunsar_capt8b_cv.add(gdstk.Reference(sunsar_cut_m1m3_2x1, (72.98,5.99)))
sunsar_capt8b_cv.add(gdstk.Reference(sunsar_cut_m1m3_2x1, (52.1,5.99)))
sunsar_capt8b_cv.add(gdstk.Reference(sunsar_cut_m1m3_2x1, (47.78,5.99)))
sunsar_capt8b_cv.add(gdstk.Reference(sunsar_cut_m1m3_2x1, (26.9,5.99)))
sunsar_capt8b_cv.add(gdstk.Reference(sunsar_cut_m1m3_2x1, (22.58,5.99)))
sunsar_capt8b_cv.add(gdstk.Reference(sunsar_cut_m1m3_2x1, (1.7,5.99)))
sunsar_capt8b_cv.add(gdstk.Reference(sunsar_cut_m1m3_2x1, (102.58,14.79)))
sunsar_capt8b_cv.add(gdstk.Reference(sunsar_cut_m1m3_2x1, (104.74,7.31)))
sunsar_capt8b_cv.add(gdstk.Reference(sunsar_cut_m1m3_2x1, (102.58,8.63)))
sunsar_capt8b_cv.add(gdstk.Reference(sunsar_cut_m1m2_2x1, (102.42,15.67)))
sunsar_capt8b_cv.add(gdstk.Reference(sunsar_cut_m1m2_2x1, (104.58,4.67)))
sunsar_capt8b_cv.add(gdstk.Reference(sunsar_cut_m1m2_2x1, (102.42,9.51)))
sunsar_capt8b_cv.add(gdstk.Reference(sunsar_cut_m1m2_2x1, (104.58,2.91)))
sunsar_capt8b_cv.add(gdstk.Reference(sunsar_cut_m1m2_2x1, (102.42,4.23)))
sunsar_capt8b_cv.add(gdstk.Reference(sunsar_cut_m1m4_2x2, (108.54,-3.94)))
sunsar_capt8b_cv.add(gdstk.Reference(sunsar_cut_m1m4_2x2, (92.14,-3.94)))
sunsar_capt8b_cv.add(gdstk.Reference(sunsar_cut_m1m4_2x2, (83.34,-3.94)))
sunsar_capt8b_cv.add(gdstk.Reference(sunsar_cut_m1m4_2x2, (66.94,-3.94)))
sunsar_capt8b_cv.add(gdstk.Reference(sunsar_cut_m1m4_2x2, (58.14,-3.94)))
sunsar_capt8b_cv.add(gdstk.Reference(sunsar_cut_m1m4_2x2, (41.74,-3.94)))
sunsar_capt8b_cv.add(gdstk.Reference(sunsar_cut_m1m4_2x2, (32.94,-3.94)))
sunsar_capt8b_cv.add(gdstk.Reference(sunsar_cut_m1m4_2x2, (16.54,-3.94)))
sunsar_capt8b_cv.add(gdstk.Reference(sunsar_cut_m1m4_2x2, (7.74,-3.94)))
sunsar_capt8b_cv.add(gdstk.Reference(sunsar_cut_m1m4_2x2, (104.58,-2.5)))
sunsar_capt8b_cv.add(gdstk.Reference(sunsar_cut_m1m4_2x2, (96.1,-2.5)))
sunsar_capt8b_cv.add(gdstk.Reference(sunsar_cut_m1m4_2x2, (79.38,-2.5)))
sunsar_capt8b_cv.add(gdstk.Reference(sunsar_cut_m1m4_2x2, (70.9,-2.5)))
sunsar_capt8b_cv.add(gdstk.Reference(sunsar_cut_m1m4_2x2, (54.18,-2.5)))
sunsar_capt8b_cv.add(gdstk.Reference(sunsar_cut_m1m4_2x2, (45.7,-2.5)))
sunsar_capt8b_cv.add(gdstk.Reference(sunsar_cut_m1m4_2x2, (28.98,-2.5)))
sunsar_capt8b_cv.add(gdstk.Reference(sunsar_cut_m1m4_2x2, (20.5,-2.5)))
sunsar_capt8b_cv.add(gdstk.Reference(sunsar_cut_m1m4_2x2, (3.78,-2.5)))
sunsar_capt8b_cv.add(gdstk.Reference(sunsar_cut_m1m2_2x1, (98.18,-1.06)))
sunsar_capt8b_cv.add(gdstk.Reference(sunsar_cut_m1m2_2x1, (98.18,2.47)))
sunsar_capt8b_cv.add(gdstk.Reference(sunsar_cut_m1m2_2x1, (77.3,-1.06)))
sunsar_capt8b_cv.add(gdstk.Reference(sunsar_cut_m1m2_2x1, (77.3,2.47)))
sunsar_capt8b_cv.add(gdstk.Reference(sunsar_cut_m1m2_2x1, (72.98,-1.06)))
sunsar_capt8b_cv.add(gdstk.Reference(sunsar_cut_m1m2_2x1, (72.98,2.47)))
sunsar_capt8b_cv.add(gdstk.Reference(sunsar_cut_m1m2_2x1, (52.1,-1.06)))
sunsar_capt8b_cv.add(gdstk.Reference(sunsar_cut_m1m2_2x1, (52.1,2.47)))
sunsar_capt8b_cv.add(gdstk.Reference(sunsar_cut_m1m2_2x1, (47.78,-1.06)))
sunsar_capt8b_cv.add(gdstk.Reference(sunsar_cut_m1m2_2x1, (47.78,2.47)))
sunsar_capt8b_cv.add(gdstk.Reference(sunsar_cut_m1m2_2x1, (26.9,-1.06)))
sunsar_capt8b_cv.add(gdstk.Reference(sunsar_cut_m1m2_2x1, (26.9,2.47)))
sunsar_capt8b_cv.add(gdstk.Reference(sunsar_cut_m1m2_2x1, (22.58,-1.06)))
sunsar_capt8b_cv.add(gdstk.Reference(sunsar_cut_m1m2_2x1, (22.58,2.47)))
sunsar_capt8b_cv.add(gdstk.Reference(sunsar_cut_m1m2_2x1, (1.7,-1.06)))
sunsar_capt8b_cv.add(gdstk.Reference(sunsar_cut_m1m2_2x1, (1.7,2.47)))
sunsar_capt8b_cv.add(gdstk.Reference(sunsar_dfqnx1_cv, (25.2,0), rotation=pi, x_reflection=True))
sunsar_capt8b_cv.add(gdstk.Reference(sunsar_dfqnx1_cv, (0,0)))
sunsar_capt8b_cv.add(gdstk.Reference(sunsar_tiel_cv, (100.8,18.48)))
sunsar_capt8b_cv.add(gdstk.Reference(sunsar_anx1_cv, (100.8,14.08)))
sunsar_capt8b_cv.add(gdstk.Reference(sunsar_orx1_cv, (100.8,7.92)))
sunsar_capt8b_cv.add(gdstk.Reference(sunsar_ivx1_cv, (100.8,12.32)))
sunsar_capt8b_cv.add(gdstk.Reference(sunsar_bfx1_cv, (100.8,5.28)))
sunsar_capt8b_cv.add(gdstk.Reference(sunsar_ivx1_cv, (100.8,3.52)))
sunsar_capt8b_cv.add(gdstk.Reference(sunsar_ivx1_cv, (100.8,1.76)))
sunsar_capt8b_cv.add(gdstk.Reference(sunsar_tapcellb_cv, (100.8,0)))
sunsar_capt8b_cv.add(gdstk.Label('CKS', (102.96,20.07), layer=70, texttype=5))
sunsar_capt8b_cv.add(gdstk.Label('ENABLE', (102.96,-3.77), layer=70, texttype=5))
sunsar_capt8b_cv.add(gdstk.Label('CK_SAMPLE', (112.86,11.88), layer=69, texttype=5))
sunsar_capt8b_cv.add(gdstk.Label('CK_SAMPLE_BSSW', (112.86,18.04), layer=69, texttype=5))
sunsar_capt8b_cv.add(gdstk.Label('EN', (112.86,13.64), layer=69, texttype=5))
sunsar_capt8b_cv.add(gdstk.Label('D<7>', (2.16,-3.77), layer=69, texttype=5))
sunsar_capt8b_cv.add(gdstk.Label('D<6>', (23.04,-3.77), layer=69, texttype=5))
sunsar_capt8b_cv.add(gdstk.Label('D<5>', (27.36,-3.77), layer=69, texttype=5))
sunsar_capt8b_cv.add(gdstk.Label('D<4>', (48.24,-3.77), layer=69, texttype=5))
sunsar_capt8b_cv.add(gdstk.Label('D<3>', (52.56,-3.77), layer=69, texttype=5))
sunsar_capt8b_cv.add(gdstk.Label('D<2>', (73.44,-3.77), layer=69, texttype=5))
sunsar_capt8b_cv.add(gdstk.Label('D<1>', (77.76,-3.77), layer=69, texttype=5))
sunsar_capt8b_cv.add(gdstk.Label('D<0>', (98.64,-3.77), layer=69, texttype=5))
sunsar_capt8b_cv.add(gdstk.Label('DO<7>', (4.32,20.07), layer=69, texttype=5))
sunsar_capt8b_cv.add(gdstk.Label('DO<6>', (20.88,20.07), layer=69, texttype=5))
sunsar_capt8b_cv.add(gdstk.Label('DO<5>', (29.52,20.07), layer=69, texttype=5))
sunsar_capt8b_cv.add(gdstk.Label('DO<4>', (46.08,20.07), layer=69, texttype=5))
sunsar_capt8b_cv.add(gdstk.Label('DO<3>', (54.72,20.07), layer=69, texttype=5))
sunsar_capt8b_cv.add(gdstk.Label('DO<2>', (71.28,20.07), layer=69, texttype=5))
sunsar_capt8b_cv.add(gdstk.Label('DO<1>', (79.92,20.07), layer=69, texttype=5))
sunsar_capt8b_cv.add(gdstk.Label('DO<0>', (96.48,20.07), layer=69, texttype=5))
sunsar_capt8b_cv.add(gdstk.Label('DONE', (56.7,-0.89), layer=67, texttype=5))
sunsar_capt8b_cv.add(gdstk.Label('AVDD', (56.7,-3.48), layer=67, texttype=5))
sunsar_capt8b_cv.add(gdstk.Label('AVSS', (56.7,-2.04), layer=67, texttype=5))
sunsar_capt8b_cv.add(gdstk.Label('TIE_L', (105.12,20.07), layer=69, texttype=5))

lib.write_gds('SUNSAR_CAPT8B_CV.gds')
